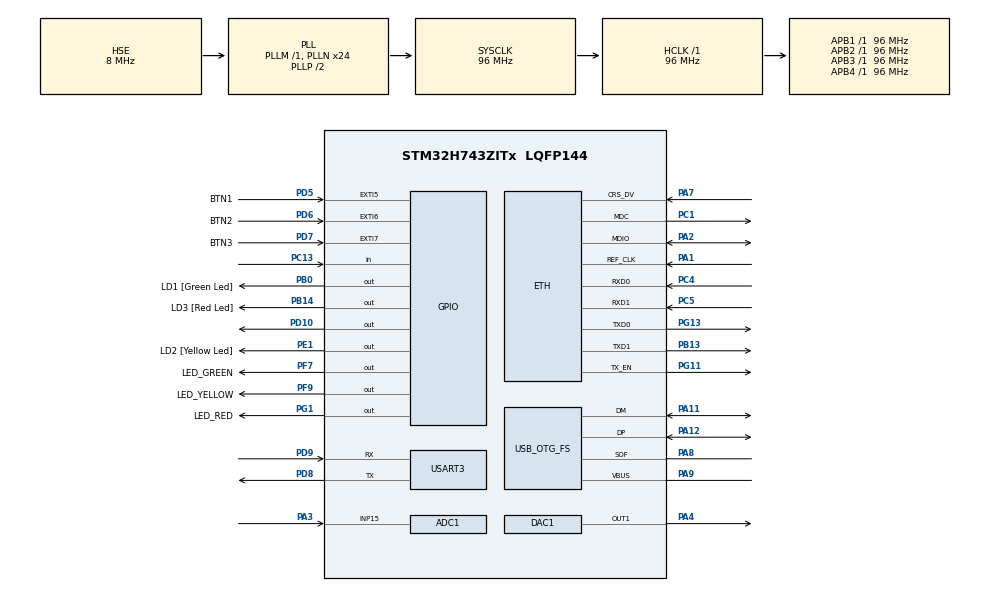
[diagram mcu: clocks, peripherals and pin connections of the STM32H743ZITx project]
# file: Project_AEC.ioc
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ADC1.Channel-0\#ChannelRegularConversion=ADC_CHANNEL_15
ADC1.ConversionDataManagement=ADC_CONVERSIONDATA_DMA_ONESHOT
ADC1.ExternalTrigConv=ADC_EXTERNALTRIG_T1_TRGO
ADC1.NbrOfConversion=1
ADC1.NbrOfConversionFlag=1
ADC1.Resolution=ADC_RESOLUTION_12B
ADC1.master=1
DAC1.DAC_Trigger-DAC_OUT1=DAC_TRIGGER_T1_TRGO
Dma.ADC1.0.Direction=DMA_PERIPH_TO_MEMORY
Dma.ADC1.0.EventEnable=DISABLE
Dma.ADC1.0.FIFOMode=DMA_FIFOMODE_DISABLE
Dma.ADC1.0.Instance=DMA1_Stream0
Dma.ADC1.0.MemDataAlignment=DMA_MDATAALIGN_HALFWORD
Dma.ADC1.0.MemInc=DMA_MINC_ENABLE
Dma.ADC1.0.Mode=DMA_NORMAL
Dma.ADC1.0.PeriphDataAlignment=DMA_PDATAALIGN_HALFWORD
Dma.ADC1.0.PeriphInc=DMA_PINC_DISABLE
Dma.ADC1.0.Polarity=HAL_DMAMUX_REQ_GEN_RISING
Dma.ADC1.0.Priority=DMA_PRIORITY_LOW
Dma.ADC1.0.RequestNumber=1
Dma.ADC1.0.SignalID=NONE
Dma.ADC1.0.SyncEnable=DISABLE
Dma.ADC1.0.SyncPolarity=HAL_DMAMUX_SYNC_NO_EVENT
Dma.ADC1.0.SyncRequestNumber=1
Dma.ADC1.0.SyncSignalID=NONE
Dma.DAC1_CH1.1.Direction=DMA_MEMORY_TO_PERIPH
Dma.DAC1_CH1.1.EventEnable=DISABLE
Dma.DAC1_CH1.1.FIFOMode=DMA_FIFOMODE_DISABLE
Dma.DAC1_CH1.1.Instance=DMA1_Stream1
Dma.DAC1_CH1.1.MemDataAlignment=DMA_MDATAALIGN_HALFWORD
Dma.DAC1_CH1.1.MemInc=DMA_MINC_ENABLE
Dma.DAC1_CH1.1.Mode=DMA_NORMAL
Dma.DAC1_CH1.1.PeriphDataAlignment=DMA_PDATAALIGN_HALFWORD
Dma.DAC1_CH1.1.PeriphInc=DMA_PINC_DISABLE
Dma.DAC1_CH1.1.Polarity=HAL_DMAMUX_REQ_GEN_RISING
Dma.DAC1_CH1.1.Priority=DMA_PRIORITY_LOW
Dma.DAC1_CH1.1.RequestNumber=1
Dma.DAC1_CH1.1.SignalID=NONE
Dma.DAC1_CH1.1.SyncEnable=DISABLE
Dma.DAC1_CH1.1.SyncPolarity=HAL_DMAMUX_SYNC_NO_EVENT
Dma.DAC1_CH1.1.SyncRequestNumber=1
Dma.DAC1_CH1.1.SyncSignalID=NONE
Dma.Request0=ADC1
Dma.Request1=DAC1_CH1
ETH.MediaInterface=HAL_ETH_RMII_MODE
Mcu.Family=STM32H7
Mcu.Name=STM32H743ZITx
Mcu.Package=LQFP144
NVIC.DMA1_Stream0_IRQn=true\:0\:0\:false\:false\:true\:false\:true
NVIC.DMA1_Stream1_IRQn=true\:0\:0\:false\:false\:true\:false\:true
NVIC.EXTI9_5_IRQn=true\:0\:0\:false\:false\:true\:true\:true
NVIC.PriorityGroup=NVIC_PRIORITYGROUP_4
PA1.Mode=RMII
PA1.Signal=ETH_REF_CLK
PA11.Mode=Device_Only
PA11.Signal=USB_OTG_FS_DM
PA12.Mode=Device_Only
PA12.Signal=USB_OTG_FS_DP
PA2.Mode=RMII
PA2.Signal=ETH_MDIO
PA3.Signal=ADCx_INP15
PA4.Signal=COMP_DAC11_group
PA7.Mode=RMII
PA7.Signal=ETH_CRS_DV
PA8.Mode=Activate_SOF_FS
PA8.Signal=USB_OTG_FS_SOF
PA9.Mode=Activate_VBUS
PA9.Signal=USB_OTG_FS_VBUS
PB0.GPIO_Label=LD1 [Green Led]
PB0.GPIO_ModeDefaultOutputPP=GPIO_MODE_OUTPUT_PP
PB0.GPIO_PuPd=GPIO_NOPULL
PB0.GPIO_Speed=GPIO_SPEED_FREQ_LOW
PB0.PinState=GPIO_PIN_RESET
PB0.Signal=GPIO_Output
PB13.Mode=RMII
PB13.Signal=ETH_TXD1
PB14.GPIO_Label=LD3 [Red Led]
PB14.GPIO_ModeDefaultOutputPP=GPIO_MODE_OUTPUT_PP
PB14.GPIO_PuPd=GPIO_NOPULL
PB14.GPIO_Speed=GPIO_SPEED_FREQ_LOW
PB14.PinState=GPIO_PIN_RESET
PB14.Signal=GPIO_Output
PC1.Mode=RMII
PC1.Signal=ETH_MDC
PC13.GPIO_Mode=GPIO_MODE_INPUT
PC13.GPIO_PuPd=GPIO_NOPULL
PC13.Signal=GPIO_Input
PC14-OSC32_IN\ (OSC32_IN).Mode=LSE-External-Oscillator
PC14-OSC32_IN\ (OSC32_IN).Signal=RCC_OSC32_IN
PC15-OSC32_OUT\ (OSC32_OUT).Mode=LSE-External-Oscillator
PC15-OSC32_OUT\ (OSC32_OUT).Signal=RCC_OSC32_OUT
PC4.Mode=RMII
PC4.Signal=ETH_RXD0
PC5.Mode=RMII
PC5.Signal=ETH_RXD1
PD10.GPIO_ModeDefaultOutputPP=GPIO_MODE_OUTPUT_PP
PD10.GPIO_PuPd=GPIO_NOPULL
PD10.GPIO_Speed=GPIO_SPEED_FREQ_LOW
PD10.PinState=GPIO_PIN_RESET
PD10.Signal=GPIO_Output
PD5.GPIO_Label=BTN1
PD5.GPIO_ModeDefaultEXTI=GPIO_MODE_IT_FALLING
PD5.Signal=GPXTI5
PD6.GPIO_Label=BTN2
PD6.GPIO_ModeDefaultEXTI=GPIO_MODE_IT_FALLING
PD6.Signal=GPXTI6
PD7.GPIO_Label=BTN3
PD7.GPIO_ModeDefaultEXTI=GPIO_MODE_IT_FALLING
PD7.Signal=GPXTI7
PD8.GPIO_ModeDefaultPP=GPIO_MODE_AF_PP
PD8.GPIO_PuPd=GPIO_NOPULL
PD8.GPIO_Speed=GPIO_SPEED_FREQ_LOW
PD8.Mode=Asynchronous
PD8.Signal=USART3_TX
PD9.GPIO_ModeDefaultPP=GPIO_MODE_AF_PP
PD9.GPIO_PuPd=GPIO_NOPULL
PD9.GPIO_Speed=GPIO_SPEED_FREQ_LOW
PD9.Mode=Asynchronous
PD9.Signal=USART3_RX
PE1.GPIO_Label=LD2 [Yellow Led]
PE1.GPIO_ModeDefaultOutputPP=GPIO_MODE_OUTPUT_PP
PE1.GPIO_PuPd=GPIO_NOPULL
PE1.GPIO_Speed=GPIO_SPEED_FREQ_LOW
PE1.PinState=GPIO_PIN_RESET
PE1.Signal=GPIO_Output
PF7.GPIO_Label=LED_GREEN
PF7.Signal=GPIO_Output
PF9.GPIO_Label=LED_YELLOW
PF9.Signal=GPIO_Output
PG1.GPIO_Label=LED_RED
PG1.Signal=GPIO_Output
PG11.Mode=RMII
PG11.Signal=ETH_TX_EN
PG13.Mode=RMII
PG13.Signal=ETH_TXD0
PH0-OSC_IN\ (PH0).Mode=HSE-External-Clock-Source
PH0-OSC_IN\ (PH0).Signal=RCC_OSC_IN
PH1-OSC_OUT\ (PH1).Signal=RCC_OSC_OUT
ProjectManager.HeapSize=0x200
ProjectManager.StackSize=0x400
ProjectManager.TargetToolchain=STM32CubeIDE
RCC.ADCFreq_Value=50666666.666666664
RCC.APB1Freq_Value=96000000
RCC.APB2Freq_Value=96000000
RCC.APB3Freq_Value=96000000
RCC.APB4Freq_Value=96000000
RCC.CortexFreq_Value=96000000
RCC.DIVM1=1
RCC.DIVM2=1
RCC.DIVN1=24
RCC.DIVN2=19
RCC.DIVP2=3
RCC.DIVQ1=4
RCC.HCLKFreq_Value=96000000
RCC.HSE_VALUE=8000000
RCC.PLLFRACN=0
RCC.SYSCLKFreq_VALUE=96000000
RCC.SYSCLKSource=RCC_SYSCLKSOURCE_PLLCLK
RCC.USBFreq_Value=48000000
SH.ADCx_INP15.0=ADC1_INP15,IN15-Single-Ended
SH.COMP_DAC11_group.0=DAC1_OUT1,DAC_OUT1
TIM1.Period=12000-1
TIM1.TIM_MasterOutputTrigger=TIM_TRGO_UPDATE
TIM2.Period=0xffff-1
TIM2.Prescaler=96-1
USART3.VirtualMode-Asynchronous=VM_ASYNC
USB_OTG_FS.VirtualMode=Device_Only
VP_TIM1_VS_ClockSourceINT.Mode=Internal
VP_TIM2_VS_ClockSourceINT.Mode=Internal
board=NUCLEO-H743ZI2

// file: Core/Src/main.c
/* USER CODE BEGIN Header */
/**
 ******************************************************************************
 * @file           : main.c
 * @brief          : Main program body
 ******************************************************************************
 * @attention
 *
 * <h2><center>&copy; Copyright (c) 2020 STMicroelectronics.
 * All rights reserved.</center></h2>
 *
 * This software component is licensed by ST under BSD 3-Clause license,
 * the "License"; You may not use this file except in compliance with the
 * License. You may obtain a copy of the License at:
 *                        opensource.org/licenses/BSD-3-Clause
 *
 ******************************************************************************
 */
/* USER CODE END Header */
#include "main.h"
#include "string.h"

/* USER CODE BEGIN Includes */
#include "aec.h"
#include "echo.h"
/* USER CODE END Includes */

#if defined ( __ICCARM__ ) /*!< IAR Compiler */

#pragma location=0x30040000
ETH_DMADescTypeDef  DMARxDscrTab[ETH_RX_DESC_CNT]; /* Ethernet Rx DMA Descriptors */
#pragma location=0x30040060
ETH_DMADescTypeDef  DMATxDscrTab[ETH_TX_DESC_CNT]; /* Ethernet Tx DMA Descriptors */
#pragma location=0x30040200
uint8_t Rx_Buff[ETH_RX_DESC_CNT][ETH_MAX_PACKET_SIZE]; /* Ethernet Receive Buffers */

#elif defined ( __CC_ARM )  /* MDK ARM Compiler */

__attribute__((at(0x30040000))) ETH_DMADescTypeDef  DMARxDscrTab[ETH_RX_DESC_CNT]; /* Ethernet Rx DMA Descriptors */
__attribute__((at(0x30040060))) ETH_DMADescTypeDef  DMATxDscrTab[ETH_TX_DESC_CNT]; /* Ethernet Tx DMA Descriptors */
__attribute__((at(0x30040200))) uint8_t Rx_Buff[ETH_RX_DESC_CNT][ETH_MAX_PACKET_SIZE]; /* Ethernet Receive Buffer */

#elif defined ( __GNUC__ ) /* GNU Compiler */

ETH_DMADescTypeDef DMARxDscrTab[ETH_RX_DESC_CNT] __attribute__((section(".RxDecripSection"))); /* Ethernet Rx DMA Descriptors */
ETH_DMADescTypeDef DMATxDscrTab[ETH_TX_DESC_CNT] __attribute__((section(".TxDecripSection")));   /* Ethernet Tx DMA Descriptors */
uint8_t Rx_Buff[ETH_RX_DESC_CNT][ETH_MAX_PACKET_SIZE] __attribute__((section(".RxArraySection"))); /* Ethernet Receive Buffers */

#endif

ETH_TxPacketConfig TxConfig;
ADC_HandleTypeDef hadc1;
DMA_HandleTypeDef hdma_adc1;

DAC_HandleTypeDef hdac1;
DMA_HandleTypeDef hdma_dac1_ch1;

ETH_HandleTypeDef heth;

TIM_HandleTypeDef htim1;
TIM_HandleTypeDef htim2;

UART_HandleTypeDef huart3;

PCD_HandleTypeDef hpcd_USB_OTG_FS;

void SystemClock_Config(void);
static void MX_GPIO_Init(void);
static void MX_DMA_Init(void);
static void MX_ETH_Init(void);
static void MX_USART3_UART_Init(void);
static void MX_USB_OTG_FS_PCD_Init(void);
static void MX_ADC1_Init(void);
static void MX_DAC1_Init(void);
static void MX_TIM1_Init(void);
static void MX_TIM2_Init(void);

/* USER CODE BEGIN 0 */
#define ADC_BUF_SIZE 32000
#define PLY_BUF_SIZE 36800
#define LED_DURATION 250
#define Fs           8000

uint16_t ADC_buff[ADC_BUF_SIZE] = {0};
uint16_t ADC_out[PLY_BUF_SIZE] = {0};

float delay = 0;
float gain  = 0;
int 	pts = 0;

int record_done  = 0;
int play_done    = 0;
int button_state = 0;
int if_record    = 0;
int is_echo      = 0;

float magprint = 0;
float max_samp = 0;
// Timer for microsecond-ish delay
void delay_us (uint16_t us)
{
	__HAL_TIM_SET_COUNTER(&htim2,0);  // set the counter value a 0
	while (__HAL_TIM_GET_COUNTER(&htim2) < us);  // wait for the counter to reach the us input in the parameter
}

// Playback function
// Start a playback
void playback(uint16_t input[ADC_BUF_SIZE])
{
	if(HAL_DAC_Start_DMA(&hdac1, DAC_CHANNEL_1, (uint32_t *)input, ADC_BUF_SIZE, DAC_ALIGN_12B_R) != HAL_OK){
		Error_Handler();
	}
	while (1){
		if(play_done == 1){
			play_done = 0;
			break;
		}
	}
};
/* USER CODE END 0 */

int main(void)
{
  /* USER CODE BEGIN 1 */
	setSeed(1000);
  /* USER CODE END 1 */

  /* MCU Configuration--------------------------------------------------------*/

  /* Reset of all peripherals, Initializes the Flash interface and the Systick. */
  HAL_Init();

  /* Configure the system clock */
  SystemClock_Config();

  /* Initialize all configured peripherals */
  MX_GPIO_Init();
  MX_DMA_Init();
  MX_ETH_Init();
  MX_USART3_UART_Init();
  MX_USB_OTG_FS_PCD_Init();
  MX_ADC1_Init();
  MX_DAC1_Init();
  MX_TIM1_Init();
  MX_TIM2_Init();
  /* USER CODE BEGIN 2 */
	if(HAL_ADCEx_Calibration_Start(&hadc1, ADC_CALIB_OFFSET,ADC_SINGLE_ENDED) != HAL_OK){
		Error_Handler();
	}
	HAL_TIM_Base_Start(&htim1);
	HAL_TIM_Base_Start(&htim2);
  /* USER CODE END 2 */

  /* Infinite loop */
  /* USER CODE BEGIN WHILE */
	while (1)
	{
		// Wait until a button is pressed
		if(button_state == 1){ // Record and Playback
			// Red LED ON for LED_DURATION
			HAL_GPIO_WritePin(GPIOG, LED_RED_Pin, GPIO_PIN_SET);
			HAL_Delay(LED_DURATION);
			HAL_GPIO_WritePin(GPIOG, LED_RED_Pin, GPIO_PIN_RESET);
			// Yellow LED ON for LED_DURATION
			HAL_GPIO_WritePin(GPIOF, LED_YELLOW_Pin, GPIO_PIN_SET);
			HAL_Delay(LED_DURATION);
			HAL_GPIO_WritePin(GPIOF, LED_YELLOW_Pin, GPIO_PIN_RESET);
			// Green LED ON
			HAL_GPIO_WritePin(GPIOF, LED_GREEN_Pin, GPIO_PIN_SET);

			// Start a recording
			if(HAL_ADC_Start_DMA(&hadc1, (uint32_t *)&ADC_buff, ADC_BUF_SIZE) != HAL_OK){
				Error_Handler();
			}
			while (1)
			{
				if(record_done == 1){
					record_done = 0;
					break;
				}
			}

			// Green LED OFF & Yellow LED ON
			HAL_GPIO_WritePin(GPIOF, LED_GREEN_Pin, GPIO_PIN_RESET);
			HAL_GPIO_WritePin(GPIOF, LED_YELLOW_Pin, GPIO_PIN_SET);
			// Yellow LED OFF & Green LED ON
			HAL_GPIO_WritePin(GPIOF, LED_YELLOW_Pin, GPIO_PIN_RESET);
			HAL_GPIO_WritePin(GPIOF, LED_GREEN_Pin, GPIO_PIN_SET);

			// Start a playback
			playback(ADC_buff);

			// Trace signal
			for (int i=0; i<ADC_BUF_SIZE; i++)
			{
				int currVal = ADC_buff[i];
				if (currVal > max_samp) max_samp = currVal;
			}
			for (int i=0; i<ADC_BUF_SIZE; i++)
			{
				magprint = ADC_buff[i]/max_samp;
				delay_us(600);
			}
			max_samp = 0;

			// Recording sample exists
			if_record = 1;
			// Reset echo state
			is_echo = 0;
			// Reset button state
			button_state = 0;
		}else if(button_state == 2){	// Echo Application and Playback
			// Check if a recording sample exists
			if(!if_record) continue;

			// Echo application
			if(!is_echo)
			{
				// Yellow LED ON & Red LED OFF to signal activity
				HAL_GPIO_WritePin(GPIOF, LED_YELLOW_Pin, GPIO_PIN_SET);
				HAL_GPIO_WritePin(GPIOG, LED_RED_Pin, GPIO_PIN_RESET);
				// 50 ms to 200 ms at 0.1 to 0.4 gain
				delay = randFloat(50, 200);
				gain = randFloat(0.1, 0.4);
				delay = 150;
				gain = 0.3;
				echo(PLY_BUF_SIZE, Fs, delay, gain);
			}

			// Yellow LED OFF & RED LED OFF & Green LED ON
			HAL_GPIO_WritePin(GPIOF, LED_YELLOW_Pin, GPIO_PIN_RESET);
			HAL_GPIO_WritePin(GPIOG, LED_RED_Pin, GPIO_PIN_RESET);
			HAL_GPIO_WritePin(GPIOF, LED_GREEN_Pin, GPIO_PIN_SET);

			// Start a playback
			playback(ADC_out);

			// Trace signal
			for (int i=0; i<ADC_BUF_SIZE; i++)
			{
				int currVal = ADC_out[i];
				if (currVal > max_samp) max_samp = currVal;
			}
			for (int i=0; i<ADC_BUF_SIZE; i++)
			{
				magprint = ADC_out[i]/max_samp;
				delay_us(600);
			}
			max_samp = 0;

			// Echo sample exists
			is_echo = 1;
			// Reset button state
			button_state = 0;
		}else if(button_state == 3){	// Echo Cancellation and Playback
			// Check if a recording sample exists
			if(!if_record) continue;
			// Yellow LED ON & Red LED OFF to signal activity
			HAL_GPIO_WritePin(GPIOF, LED_YELLOW_Pin, GPIO_PIN_SET);
			HAL_GPIO_WritePin(GPIOG, LED_RED_Pin, GPIO_PIN_RESET);
			// AEC
			if (is_echo) aec(ADC_BUF_SIZE);
			// Yellow LED OFF & Green LED ON
			HAL_GPIO_WritePin(GPIOF, LED_YELLOW_Pin, GPIO_PIN_RESET);
			HAL_GPIO_WritePin(GPIOF, LED_GREEN_Pin, GPIO_PIN_SET);

			// Start a playback
			playback(ADC_out);

			// Trace signal
			for (int i=0; i<ADC_BUF_SIZE; i++)
			{
				int currVal = ADC_out[i];
				if (currVal > max_samp) max_samp = currVal;
			}
			for (int i=0; i<ADC_BUF_SIZE; i++)
			{
				magprint = ADC_out[i]/max_samp;
				delay_us(600);
			}
			max_samp = 0;

			// Echo sample does not exist
			is_echo = 0;
			// Reset button state
			button_state = 0;
		}
		// Green LED OFF & Red LED ON to signal inactivity
		HAL_GPIO_WritePin(GPIOF, LED_GREEN_Pin, GPIO_PIN_RESET);
		HAL_GPIO_WritePin(GPIOG, LED_RED_Pin, GPIO_PIN_SET);
    /* USER CODE END WHILE */

	}
}

void SystemClock_Config(void)
{
  RCC_OscInitTypeDef RCC_OscInitStruct = {0};
  RCC_ClkInitTypeDef RCC_ClkInitStruct = {0};
  RCC_PeriphCLKInitTypeDef PeriphClkInitStruct = {0};

  /** Supply configuration update enable
  */
  HAL_PWREx_ConfigSupply(PWR_LDO_SUPPLY);
  /** Configure the main internal regulator output voltage
  */
  __HAL_PWR_VOLTAGESCALING_CONFIG(PWR_REGULATOR_VOLTAGE_SCALE3);

  while(!__HAL_PWR_GET_FLAG(PWR_FLAG_VOSRDY)) {}
  /** Macro to configure the PLL clock source
  */
  __HAL_RCC_PLL_PLLSOURCE_CONFIG(RCC_PLLSOURCE_HSE);
  /** Initializes the RCC Oscillators according to the specified parameters
  * in the RCC_OscInitTypeDef structure.
  */
  RCC_OscInitStruct.OscillatorType = RCC_OSCILLATORTYPE_HSE;
  RCC_OscInitStruct.HSEState = RCC_HSE_BYPASS;
  RCC_OscInitStruct.PLL.PLLState = RCC_PLL_ON;
  RCC_OscInitStruct.PLL.PLLSource = RCC_PLLSOURCE_HSE;
  RCC_OscInitStruct.PLL.PLLM = 1;
  RCC_OscInitStruct.PLL.PLLN = 24;
  RCC_OscInitStruct.PLL.PLLP = 2;
  RCC_OscInitStruct.PLL.PLLQ = 4;
  RCC_OscInitStruct.PLL.PLLR = 2;
  RCC_OscInitStruct.PLL.PLLRGE = RCC_PLL1VCIRANGE_3;
  RCC_OscInitStruct.PLL.PLLVCOSEL = RCC_PLL1VCOWIDE;
  RCC_OscInitStruct.PLL.PLLFRACN = 0;
  if (HAL_RCC_OscConfig(&RCC_OscInitStruct) != HAL_OK)
  {
    Error_Handler();
  }
  /** Initializes the CPU, AHB and APB buses clocks
  */
  RCC_ClkInitStruct.ClockType = RCC_CLOCKTYPE_HCLK|RCC_CLOCKTYPE_SYSCLK
                              |RCC_CLOCKTYPE_PCLK1|RCC_CLOCKTYPE_PCLK2
                              |RCC_CLOCKTYPE_D3PCLK1|RCC_CLOCKTYPE_D1PCLK1;
  RCC_ClkInitStruct.SYSCLKSource = RCC_SYSCLKSOURCE_PLLCLK;
  RCC_ClkInitStruct.SYSCLKDivider = RCC_SYSCLK_DIV1;
  RCC_ClkInitStruct.AHBCLKDivider = RCC_HCLK_DIV1;
  RCC_ClkInitStruct.APB3CLKDivider = RCC_APB3_DIV1;
  RCC_ClkInitStruct.APB1CLKDivider = RCC_APB1_DIV1;
  RCC_ClkInitStruct.APB2CLKDivider = RCC_APB2_DIV1;
  RCC_ClkInitStruct.APB4CLKDivider = RCC_APB4_DIV1;

  if (HAL_RCC_ClockConfig(&RCC_ClkInitStruct, FLASH_LATENCY_1) != HAL_OK)
  {
    Error_Handler();
  }
  PeriphClkInitStruct.PeriphClockSelection = RCC_PERIPHCLK_USART3|RCC_PERIPHCLK_ADC
                              |RCC_PERIPHCLK_USB;
  PeriphClkInitStruct.PLL2.PLL2M = 1;
  PeriphClkInitStruct.PLL2.PLL2N = 19;
  PeriphClkInitStruct.PLL2.PLL2P = 3;
  PeriphClkInitStruct.PLL2.PLL2Q = 2;
  PeriphClkInitStruct.PLL2.PLL2R = 2;
  PeriphClkInitStruct.PLL2.PLL2RGE = RCC_PLL2VCIRANGE_3;
  PeriphClkInitStruct.PLL2.PLL2VCOSEL = RCC_PLL2VCOMEDIUM;
  PeriphClkInitStruct.PLL2.PLL2FRACN = 0;
  PeriphClkInitStruct.Usart234578ClockSelection = RCC_USART234578CLKSOURCE_D2PCLK1;
  PeriphClkInitStruct.UsbClockSelection = RCC_USBCLKSOURCE_PLL;
  PeriphClkInitStruct.AdcClockSelection = RCC_ADCCLKSOURCE_PLL2;
  if (HAL_RCCEx_PeriphCLKConfig(&PeriphClkInitStruct) != HAL_OK)
  {
    Error_Handler();
  }
  /** Enable USB Voltage detector
  */
  HAL_PWREx_EnableUSBVoltageDetector();
}

static void MX_ADC1_Init(void)
{

  ADC_MultiModeTypeDef multimode = {0};
  ADC_ChannelConfTypeDef sConfig = {0};

  /** Common config
  */
  hadc1.Instance = ADC1;
  hadc1.Init.ClockPrescaler = ADC_CLOCK_ASYNC_DIV1;
  hadc1.Init.Resolution = ADC_RESOLUTION_12B;
  hadc1.Init.ScanConvMode = ADC_SCAN_DISABLE;
  hadc1.Init.EOCSelection = ADC_EOC_SINGLE_CONV;
  hadc1.Init.LowPowerAutoWait = DISABLE;
  hadc1.Init.ContinuousConvMode = DISABLE;
  hadc1.Init.NbrOfConversion = 1;
  hadc1.Init.DiscontinuousConvMode = DISABLE;
  hadc1.Init.ExternalTrigConv = ADC_EXTERNALTRIG_T1_TRGO;
  hadc1.Init.ExternalTrigConvEdge = ADC_EXTERNALTRIGCONVEDGE_RISING;
  hadc1.Init.ConversionDataManagement = ADC_CONVERSIONDATA_DMA_ONESHOT;
  hadc1.Init.Overrun = ADC_OVR_DATA_PRESERVED;
  hadc1.Init.LeftBitShift = ADC_LEFTBITSHIFT_NONE;
  hadc1.Init.OversamplingMode = DISABLE;
  if (HAL_ADC_Init(&hadc1) != HAL_OK)
  {
    Error_Handler();
  }
  /** Configure the ADC multi-mode
  */
  multimode.Mode = ADC_MODE_INDEPENDENT;
  if (HAL_ADCEx_MultiModeConfigChannel(&hadc1, &multimode) != HAL_OK)
  {
    Error_Handler();
  }
  /** Configure Regular Channel
  */
  sConfig.Channel = ADC_CHANNEL_15;
  sConfig.Rank = ADC_REGULAR_RANK_1;
  sConfig.SamplingTime = ADC_SAMPLETIME_1CYCLE_5;
  sConfig.SingleDiff = ADC_SINGLE_ENDED;
  sConfig.OffsetNumber = ADC_OFFSET_NONE;
  sConfig.Offset = 0;
  if (HAL_ADC_ConfigChannel(&hadc1, &sConfig) != HAL_OK)
  {
    Error_Handler();
  }

}

static void MX_DAC1_Init(void)
{

  DAC_ChannelConfTypeDef sConfig = {0};

  /** DAC Initialization
  */
  hdac1.Instance = DAC1;
  if (HAL_DAC_Init(&hdac1) != HAL_OK)
  {
    Error_Handler();
  }
  /** DAC channel OUT1 config
  */
  sConfig.DAC_SampleAndHold = DAC_SAMPLEANDHOLD_DISABLE;
  sConfig.DAC_Trigger = DAC_TRIGGER_T1_TRGO;
  sConfig.DAC_OutputBuffer = DAC_OUTPUTBUFFER_ENABLE;
  sConfig.DAC_ConnectOnChipPeripheral = DAC_CHIPCONNECT_DISABLE;
  sConfig.DAC_UserTrimming = DAC_TRIMMING_FACTORY;
  if (HAL_DAC_ConfigChannel(&hdac1, &sConfig, DAC_CHANNEL_1) != HAL_OK)
  {
    Error_Handler();
  }

}

static void MX_ETH_Init(void)
{

  heth.Instance = ETH;
  heth.Init.MACAddr[0] =   0x00;
  heth.Init.MACAddr[1] =   0x80;
  heth.Init.MACAddr[2] =   0xE1;
  heth.Init.MACAddr[3] =   0x00;
  heth.Init.MACAddr[4] =   0x00;
  heth.Init.MACAddr[5] =   0x00;
  heth.Init.MediaInterface = HAL_ETH_RMII_MODE;
  heth.Init.TxDesc = DMATxDscrTab;
  heth.Init.RxDesc = DMARxDscrTab;
  heth.Init.RxBuffLen = 1524;

  if (HAL_ETH_Init(&heth) != HAL_OK)
  {
    Error_Handler();
  }

  memset(&TxConfig, 0 , sizeof(ETH_TxPacketConfig));
  TxConfig.Attributes = ETH_TX_PACKETS_FEATURES_CSUM | ETH_TX_PACKETS_FEATURES_CRCPAD;
  TxConfig.ChecksumCtrl = ETH_CHECKSUM_IPHDR_PAYLOAD_INSERT_PHDR_CALC;
  TxConfig.CRCPadCtrl = ETH_CRC_PAD_INSERT;

}

static void MX_TIM1_Init(void)
{

  TIM_ClockConfigTypeDef sClockSourceConfig = {0};
  TIM_MasterConfigTypeDef sMasterConfig = {0};

  htim1.Instance = TIM1;
  htim1.Init.Prescaler = 0;
  htim1.Init.CounterMode = TIM_COUNTERMODE_UP;
  htim1.Init.Period = 12000-1;
  htim1.Init.ClockDivision = TIM_CLOCKDIVISION_DIV1;
  htim1.Init.RepetitionCounter = 0;
  htim1.Init.AutoReloadPreload = TIM_AUTORELOAD_PRELOAD_DISABLE;
  if (HAL_TIM_Base_Init(&htim1) != HAL_OK)
  {
    Error_Handler();
  }
  sClockSourceConfig.ClockSource = TIM_CLOCKSOURCE_INTERNAL;
  if (HAL_TIM_ConfigClockSource(&htim1, &sClockSourceConfig) != HAL_OK)
  {
    Error_Handler();
  }
  sMasterConfig.MasterOutputTrigger = TIM_TRGO_UPDATE;
  sMasterConfig.MasterOutputTrigger2 = TIM_TRGO2_RESET;
  sMasterConfig.MasterSlaveMode = TIM_MASTERSLAVEMODE_DISABLE;
  if (HAL_TIMEx_MasterConfigSynchronization(&htim1, &sMasterConfig) != HAL_OK)
  {
    Error_Handler();
  }

}

static void MX_TIM2_Init(void)
{

  TIM_ClockConfigTypeDef sClockSourceConfig = {0};
  TIM_MasterConfigTypeDef sMasterConfig = {0};

  htim2.Instance = TIM2;
  htim2.Init.Prescaler = 96-1;
  htim2.Init.CounterMode = TIM_COUNTERMODE_UP;
  htim2.Init.Period = 0xffff-1;
  htim2.Init.ClockDivision = TIM_CLOCKDIVISION_DIV1;
  htim2.Init.AutoReloadPreload = TIM_AUTORELOAD_PRELOAD_DISABLE;
  if (HAL_TIM_Base_Init(&htim2) != HAL_OK)
  {
    Error_Handler();
  }
  sClockSourceConfig.ClockSource = TIM_CLOCKSOURCE_INTERNAL;
  if (HAL_TIM_ConfigClockSource(&htim2, &sClockSourceConfig) != HAL_OK)
  {
    Error_Handler();
  }
  sMasterConfig.MasterOutputTrigger = TIM_TRGO_RESET;
  sMasterConfig.MasterSlaveMode = TIM_MASTERSLAVEMODE_DISABLE;
  if (HAL_TIMEx_MasterConfigSynchronization(&htim2, &sMasterConfig) != HAL_OK)
  {
    Error_Handler();
  }

}

static void MX_USART3_UART_Init(void)
{

  huart3.Instance = USART3;
  huart3.Init.BaudRate = 115200;
  huart3.Init.WordLength = UART_WORDLENGTH_8B;
  huart3.Init.StopBits = UART_STOPBITS_1;
  huart3.Init.Parity = UART_PARITY_NONE;
  huart3.Init.Mode = UART_MODE_TX_RX;
  huart3.Init.HwFlowCtl = UART_HWCONTROL_NONE;
  huart3.Init.OverSampling = UART_OVERSAMPLING_16;
  huart3.Init.OneBitSampling = UART_ONE_BIT_SAMPLE_DISABLE;
  huart3.Init.ClockPrescaler = UART_PRESCALER_DIV1;
  huart3.AdvancedInit.AdvFeatureInit = UART_ADVFEATURE_NO_INIT;
  if (HAL_UART_Init(&huart3) != HAL_OK)
  {
    Error_Handler();
  }
  if (HAL_UARTEx_SetTxFifoThreshold(&huart3, UART_TXFIFO_THRESHOLD_1_8) != HAL_OK)
  {
    Error_Handler();
  }
  if (HAL_UARTEx_SetRxFifoThreshold(&huart3, UART_RXFIFO_THRESHOLD_1_8) != HAL_OK)
  {
    Error_Handler();
  }
  if (HAL_UARTEx_DisableFifoMode(&huart3) != HAL_OK)
  {
    Error_Handler();
  }

}

static void MX_USB_OTG_FS_PCD_Init(void)
{

  hpcd_USB_OTG_FS.Instance = USB_OTG_FS;
  hpcd_USB_OTG_FS.Init.dev_endpoints = 9;
  hpcd_USB_OTG_FS.Init.speed = PCD_SPEED_FULL;
  hpcd_USB_OTG_FS.Init.dma_enable = DISABLE;
  hpcd_USB_OTG_FS.Init.phy_itface = PCD_PHY_EMBEDDED;
  hpcd_USB_OTG_FS.Init.Sof_enable = ENABLE;
  hpcd_USB_OTG_FS.Init.low_power_enable = DISABLE;
  hpcd_USB_OTG_FS.Init.lpm_enable = DISABLE;
  hpcd_USB_OTG_FS.Init.battery_charging_enable = ENABLE;
  hpcd_USB_OTG_FS.Init.vbus_sensing_enable = ENABLE;
  hpcd_USB_OTG_FS.Init.use_dedicated_ep1 = DISABLE;
  if (HAL_PCD_Init(&hpcd_USB_OTG_FS) != HAL_OK)
  {
    Error_Handler();
  }

}

static void MX_DMA_Init(void)
{

  /* DMA controller clock enable */
  __HAL_RCC_DMA1_CLK_ENABLE();

  /* DMA interrupt init */
  /* DMA1_Stream0_IRQn interrupt configuration */
  HAL_NVIC_SetPriority(DMA1_Stream0_IRQn, 0, 0);
  HAL_NVIC_EnableIRQ(DMA1_Stream0_IRQn);
  /* DMA1_Stream1_IRQn interrupt configuration */
  HAL_NVIC_SetPriority(DMA1_Stream1_IRQn, 0, 0);
  HAL_NVIC_EnableIRQ(DMA1_Stream1_IRQn);

}

static void MX_GPIO_Init(void)
{
  GPIO_InitTypeDef GPIO_InitStruct = {0};

  /* GPIO Ports Clock Enable */
  __HAL_RCC_GPIOC_CLK_ENABLE();
  __HAL_RCC_GPIOF_CLK_ENABLE();
  __HAL_RCC_GPIOH_CLK_ENABLE();
  __HAL_RCC_GPIOA_CLK_ENABLE();
  __HAL_RCC_GPIOB_CLK_ENABLE();
  __HAL_RCC_GPIOG_CLK_ENABLE();
  __HAL_RCC_GPIOD_CLK_ENABLE();
  __HAL_RCC_GPIOE_CLK_ENABLE();

  /*Configure GPIO pin Output Level */
  HAL_GPIO_WritePin(GPIOF, LED_GREEN_Pin|LED_YELLOW_Pin, GPIO_PIN_RESET);

  /*Configure GPIO pin Output Level */
  HAL_GPIO_WritePin(GPIOB, LD1_Pin|LD3_Pin, GPIO_PIN_RESET);

  /*Configure GPIO pin Output Level */
  HAL_GPIO_WritePin(LED_RED_GPIO_Port, LED_RED_Pin, GPIO_PIN_RESET);

  /*Configure GPIO pin Output Level */
  HAL_GPIO_WritePin(GPIOD, GPIO_PIN_10, GPIO_PIN_RESET);

  /*Configure GPIO pin Output Level */
  HAL_GPIO_WritePin(LD2_GPIO_Port, LD2_Pin, GPIO_PIN_RESET);

  /*Configure GPIO pin : PC13 */
  GPIO_InitStruct.Pin = GPIO_PIN_13;
  GPIO_InitStruct.Mode = GPIO_MODE_INPUT;
  GPIO_InitStruct.Pull = GPIO_NOPULL;
  HAL_GPIO_Init(GPIOC, &GPIO_InitStruct);

  /*Configure GPIO pins : LED_GREEN_Pin LED_YELLOW_Pin */
  GPIO_InitStruct.Pin = LED_GREEN_Pin|LED_YELLOW_Pin;
  GPIO_InitStruct.Mode = GPIO_MODE_OUTPUT_PP;
  GPIO_InitStruct.Pull = GPIO_NOPULL;
  GPIO_InitStruct.Speed = GPIO_SPEED_FREQ_LOW;
  HAL_GPIO_Init(GPIOF, &GPIO_InitStruct);

  /*Configure GPIO pins : LD1_Pin LD3_Pin */
  GPIO_InitStruct.Pin = LD1_Pin|LD3_Pin;
  GPIO_InitStruct.Mode = GPIO_MODE_OUTPUT_PP;
  GPIO_InitStruct.Pull = GPIO_NOPULL;
  GPIO_InitStruct.Speed = GPIO_SPEED_FREQ_LOW;
  HAL_GPIO_Init(GPIOB, &GPIO_InitStruct);

  /*Configure GPIO pin : LED_RED_Pin */
  GPIO_InitStruct.Pin = LED_RED_Pin;
  GPIO_InitStruct.Mode = GPIO_MODE_OUTPUT_PP;
  GPIO_InitStruct.Pull = GPIO_NOPULL;
  GPIO_InitStruct.Speed = GPIO_SPEED_FREQ_LOW;
  HAL_GPIO_Init(LED_RED_GPIO_Port, &GPIO_InitStruct);

  /*Configure GPIO pin : PD10 */
  GPIO_InitStruct.Pin = GPIO_PIN_10;
  GPIO_InitStruct.Mode = GPIO_MODE_OUTPUT_PP;
  GPIO_InitStruct.Pull = GPIO_NOPULL;
  GPIO_InitStruct.Speed = GPIO_SPEED_FREQ_LOW;
  HAL_GPIO_Init(GPIOD, &GPIO_InitStruct);

  /*Configure GPIO pins : BTN1_Pin BTN2_Pin BTN3_Pin */
  GPIO_InitStruct.Pin = BTN1_Pin|BTN2_Pin|BTN3_Pin;
  GPIO_InitStruct.Mode = GPIO_MODE_IT_FALLING;
  GPIO_InitStruct.Pull = GPIO_NOPULL;
  HAL_GPIO_Init(GPIOD, &GPIO_InitStruct);

  /*Configure GPIO pin : LD2_Pin */
  GPIO_InitStruct.Pin = LD2_Pin;
  GPIO_InitStruct.Mode = GPIO_MODE_OUTPUT_PP;
  GPIO_InitStruct.Pull = GPIO_NOPULL;
  GPIO_InitStruct.Speed = GPIO_SPEED_FREQ_LOW;
  HAL_GPIO_Init(LD2_GPIO_Port, &GPIO_InitStruct);

  /* EXTI interrupt init*/
  HAL_NVIC_SetPriority(EXTI9_5_IRQn, 0, 0);
  HAL_NVIC_EnableIRQ(EXTI9_5_IRQn);

}

/* USER CODE BEGIN 4 */
void HAL_GPIO_EXTI_Callback(uint16_t GPIO_Pin) {
	if(GPIO_Pin == BTN1_Pin){
		button_state = 1;
	}else if(GPIO_Pin == BTN2_Pin){
		button_state = 2;
	}else if(GPIO_Pin == BTN3_Pin){
		button_state = 3;
	}
}

void HAL_ADC_ConvCpltCallback(ADC_HandleTypeDef *hadc){
	if(HAL_ADC_Stop_DMA(&hadc1) != HAL_OK){
		Error_Handler();
	}
	record_done = 1;
}

void HAL_DAC_ConvCpltCallbackCh1(DAC_HandleTypeDef *hdac){
	play_done = 1;
}

int _write(int file, char *ptr, int len)
{
	/* Implement your write code here, this is used by puts and printf for example */
	int i=0;
	for(i=0 ; i<len ; i++)
		ITM_SendChar((*ptr++));
	return len;
}
/* USER CODE END 4 */

void Error_Handler(void)
{
  /* USER CODE BEGIN Error_Handler_Debug */
	/* User can add his own implementation to report the HAL error return state */
	HAL_GPIO_WritePin(GPIOB, LD3_Pin, GPIO_PIN_SET);
  /* USER CODE END Error_Handler_Debug */
}

/************************ (C) COPYRIGHT STMicroelectronics *****END OF FILE****/
